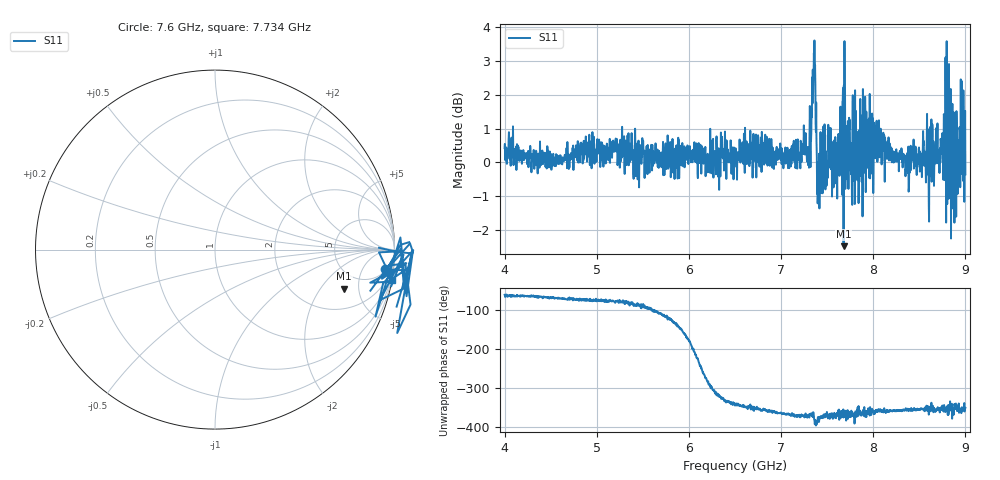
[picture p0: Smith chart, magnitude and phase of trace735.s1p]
! Created with skrf 1.8.0 (http://scikit-rf.org).
# Hz S RI R 50.0
!freq ReS11 ImS11
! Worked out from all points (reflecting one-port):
!   1601 points, 4 GHz to 9 GHz, reference 50 ohm
!   lowest |S11| = -2.5 dB at 7.678 GHz (marker M1), VSWR 7.05, Z = 173 - j173 ohm
!   phase of S11 starts at -61 deg and turns -291 deg over the sweep
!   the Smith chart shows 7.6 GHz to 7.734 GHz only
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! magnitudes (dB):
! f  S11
! 4 GHz  0.4
! 4.625 GHz  -0.1
! 4.894 GHz  0.0
! 5.25 GHz  -0.2
! 5.875 GHz  0.1
! 6.5 GHz  0.1
! 6.806 GHz  0.3
! 7.125 GHz  0.4
! 7.294 GHz  -0.1
! 7.356 GHz  3.2
! 7.369 GHz  2.9
! 7.4 GHz  -0.9
! 7.416 GHz  -1.4
! 7.453 GHz  -0.2
! 7.609 GHz  -1.1
! 7.678 GHz  -2.5
! 7.691 GHz  1.8
! 7.75 GHz  -0.2
! 7.775 GHz  1.0
! 7.8 GHz  -1.2
! 7.928 GHz  0.5
! 8.375 GHz  -0.1
! 8.559 GHz  0.3
! 8.612 GHz  0.1
! 8.791 GHz  -1.8
! 8.869 GHz  -0.6
! 8.972 GHz  0.4
! 9 GHz  -0.4
